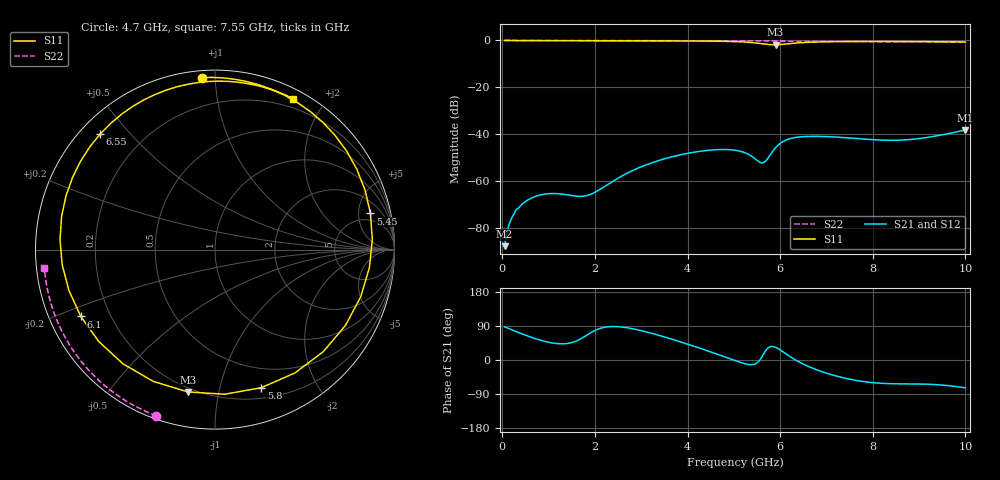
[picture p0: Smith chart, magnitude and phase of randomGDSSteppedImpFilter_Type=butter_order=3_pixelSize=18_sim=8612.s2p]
! freq	dB(S11)	phase(S11)	dB(S12)	phase(S12)
!  dB(S21)	phase(S21)	dB(S22)	phase(S22)
!S-par simulation data
#  GHz  S  DB  R 50
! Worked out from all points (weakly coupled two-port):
!   200 points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, 50 MHz to 10 GHz, reference 50 ohm
!   highest |S21| = -38.27 dB at 10 GHz (marker M1); lowest = -87.9 dB at 50 MHz (marker M2)
!   lowest |S11| = -1.9 dB at 5.9 GHz (marker M3), VSWR 9.38, Z = 8.9 - j40.5 ohm
!   |S11| at or under -10 dB: nowhere
!   |S22| runs from -0.7 to 0.0 dB; largest |S21 - S12| = 0
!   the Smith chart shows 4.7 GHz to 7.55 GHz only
!   S11 on the Smith chart (normalised r, x): 4.7 GHz: 0.04, +0.93; 5.45 GHz: 3.57, +6.88; 5.8 GHz: 0.30, -1.35; 6.1 GHz: 0.09, -0.23; 6.55 GHz: 0.06, +0.42; 7.55 GHz: 0.10, +1.64
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0.05  -0.00 -3.9  -87.94 87.6  -87.94 87.6  -0.00 -1.3
0.45  -0.04 -34.5  -69.62 67.8  -69.62 67.8  -0.01 -11.1
0.9  -0.08 -66.7  -65.73 49.7  -65.73 49.7  -0.03 -22.1
1.75  -0.12 -118.6  -66.59 59.9  -66.59 59.9  -0.05 -42.6
2.55  -0.15 -158.8  -58.28 87.5  -58.28 87.5  -0.08 -61.3
3.4  -0.18 162.5  -51.19 64.5  -51.19 64.5  -0.11 -80.7
4.1  -0.23 129.3  -47.90 37.9  -47.90 37.9  -0.14 -96.3
4.7  -0.34 94.2  -46.63 12.8  -46.63 12.8  -0.16 -109.4
5.05  -0.51 65.8  -47.00 -2.5  -47.00 -2.5  -0.18 -117.1
5.45  -1.02 13.1  -50.45 -11.0  -50.45 -11.0  -0.21 -125.8
5.65  -1.51 -30.1  -52.17 17.6  -52.17 17.6  -0.22 -130.2
5.8  -1.81 -71.5  -48.46 35.7  -48.46 35.7  -0.23 -133.5
5.9  -1.86 -100.8  -45.87 33.6  -45.87 33.6  -0.24 -135.7
6.1  -1.56 -153.5  -42.81 18.3  -42.81 18.3  -0.25 -140.2
6.3  -1.17 167.9  -41.56 2.3  -41.56 2.3  -0.27 -144.6
6.55  -0.84 134.8  -41.06 -13.7  -41.06 -13.7  -0.29 -150.3
6.7  -0.72 119.8  -40.99 -21.6  -40.99 -21.6  -0.30 -153.7
7.05  -0.56 92.5  -41.15 -36.6  -41.15 -36.6  -0.34 -161.8
7.55  -0.47 62.7  -41.76 -51.8  -41.76 -51.8  -0.39 -173.9
8.35  -0.45 24.1  -42.68 -62.4  -42.68 -62.4  -0.48 165.6
9.1  -0.51 -7.1  -41.68 -63.5  -41.68 -63.5  -0.57 144.2
10  -0.67 -40.8  -38.27 -73.4  -38.27 -73.4  -0.69 115.4
